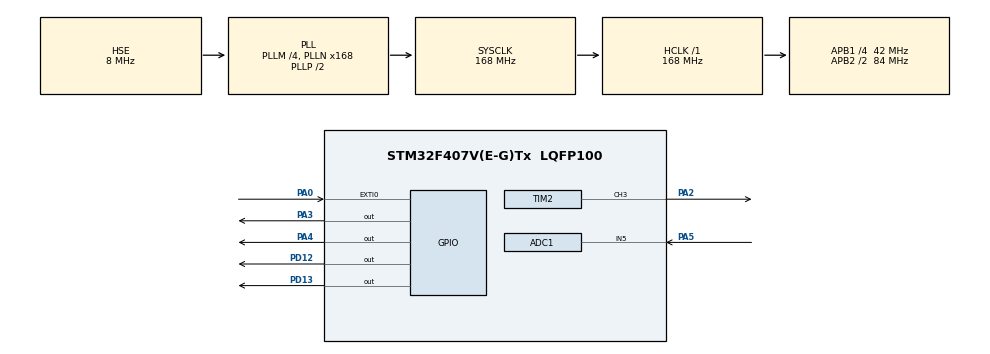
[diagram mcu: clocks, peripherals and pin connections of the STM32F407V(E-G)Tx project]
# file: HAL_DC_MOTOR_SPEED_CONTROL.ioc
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ADC1.Channel-0\#ChannelRegularConversion=ADC_CHANNEL_5
ADC1.ContinuousConvMode=ENABLE
ADC1.NbrOfConversionFlag=1
ADC1.Rank-0\#ChannelRegularConversion=1
ADC1.Resolution=ADC_RESOLUTION_12B
ADC1.SamplingTime-0\#ChannelRegularConversion=ADC_SAMPLETIME_56CYCLES
ADC1.master=1
Mcu.Family=STM32F4
Mcu.Name=STM32F407V(E-G)Tx
Mcu.Package=LQFP100
NVIC.EXTI0_IRQn=true\:0\:0\:false\:false\:true\:true\:true\:true
NVIC.PriorityGroup=NVIC_PRIORITYGROUP_4
PA0-WKUP.GPIO_PuPd=GPIO_PULLDOWN
PA0-WKUP.Signal=GPXTI0
PA2.Signal=S_TIM2_CH3
PA3.GPIO_Speed=GPIO_SPEED_FREQ_VERY_HIGH
PA3.Signal=GPIO_Output
PA4.GPIO_Speed=GPIO_SPEED_FREQ_VERY_HIGH
PA4.Signal=GPIO_Output
PA5.Signal=ADCx_IN5
PD12.GPIO_Speed=GPIO_SPEED_FREQ_VERY_HIGH
PD12.Signal=GPIO_Output
PD13.GPIO_Speed=GPIO_SPEED_FREQ_VERY_HIGH
PD13.Signal=GPIO_Output
PH0-OSC_IN.Mode=HSE-External-Oscillator
PH0-OSC_IN.Signal=RCC_OSC_IN
PH1-OSC_OUT.Mode=HSE-External-Oscillator
PH1-OSC_OUT.Signal=RCC_OSC_OUT
ProjectManager.HeapSize=0x200
ProjectManager.StackSize=0x400
ProjectManager.TargetToolchain=STM32CubeIDE
RCC.48MHZClocksFreq_Value=84000000
RCC.AHBFreq_Value=168000000
RCC.APB1CLKDivider=RCC_HCLK_DIV4
RCC.APB1Freq_Value=42000000
RCC.APB1TimFreq_Value=84000000
RCC.APB2CLKDivider=RCC_HCLK_DIV2
RCC.APB2Freq_Value=84000000
RCC.APB2TimFreq_Value=168000000
RCC.CortexFreq_Value=168000000
RCC.HCLKFreq_Value=168000000
RCC.HSE_VALUE=8000000
RCC.HSI_VALUE=16000000
RCC.LSE_VALUE=32768
RCC.PLLM=4
RCC.PLLN=168
RCC.PLLSourceVirtual=RCC_PLLSOURCE_HSE
RCC.SYSCLKFreq_VALUE=168000000
RCC.SYSCLKSource=RCC_SYSCLKSOURCE_PLLCLK
RCC.VCOOutputFreq_Value=336000000
SH.ADCx_IN5.0=ADC1_IN5,IN5
SH.S_TIM2_CH3.0=TIM2_CH3,PWM Generation3 CH3
TIM2.Channel-PWM\ Generation3\ CH3=TIM_CHANNEL_3
TIM2.Period=255
TIM2.Prescaler=299
board=custom

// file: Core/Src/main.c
/* USER CODE BEGIN Header */
/**
  ******************************************************************************
  * @file           : main.c
  * @brief          : Main program body
  ******************************************************************************
  * @attention
  *
  * Copyright (c) 2024 STMicroelectronics.
  * All rights reserved.
  *
  * This software is licensed under terms that can be found in the LICENSE file
  * in the root directory of this software component.
  * If no LICENSE file comes with this software, it is provided AS-IS.
  *
  ******************************************************************************
  */
/* USER CODE END Header */
#include "main.h"

ADC_HandleTypeDef hadc1;

TIM_HandleTypeDef htim2;

void SystemClock_Config(void);
static void MX_GPIO_Init(void);
static void MX_ADC1_Init(void);
static void MX_TIM2_Init(void);

/* USER CODE BEGIN 0 */
uint16_t adc_value;
int count;

uint8_t read_adc()
{
	if(HAL_ADC_PollForConversion(&hadc1, 1000)== HAL_OK)
	{
		return HAL_ADC_GetValue(&hadc1);
	}
}

void HAL_GPIO_EXTI_Callback(uint16_t GPIO_Pin_0)
{
	count++;
	if(count%2 == 0)
	{
		HAL_GPIO_WritePin(GPIOA, GPIO_PIN_3, SET); /*PIN3 And PIN4 are used to see the direction of motor */
		HAL_GPIO_WritePin(GPIOA, GPIO_PIN_4, RESET);
		HAL_GPIO_WritePin(GPIOD, GPIO_PIN_12, SET);
		HAL_GPIO_WritePin(GPIOD, GPIO_PIN_13, RESET);
	}
	else
	{
		HAL_GPIO_WritePin(GPIOA, GPIO_PIN_4, SET);
		HAL_GPIO_WritePin(GPIOA, GPIO_PIN_3, RESET);
		HAL_GPIO_WritePin(GPIOD, GPIO_PIN_13, SET);
		HAL_GPIO_WritePin(GPIOD, GPIO_PIN_12, RESET);
	}
}
/* USER CODE END 0 */

int main(void)
{

  /* MCU Configuration--------------------------------------------------------*/

  /* Reset of all peripherals, Initializes the Flash interface and the Systick. */
  HAL_Init();

  /* Configure the system clock */
  SystemClock_Config();

  /* Initialize all configured peripherals */
  MX_GPIO_Init();
  MX_ADC1_Init();
  MX_TIM2_Init();
  /* USER CODE BEGIN 2 */
  HAL_ADC_Start(&hadc1);
  HAL_TIM_PWM_Start(&htim2, TIM_CHANNEL_3);
  HAL_GPIO_WritePin(GPIOD, GPIO_PIN_12, SET);
  HAL_GPIO_WritePin(GPIOD, GPIO_PIN_13, RESET);
  HAL_GPIO_WritePin(GPIOA, GPIO_PIN_3, SET);
  HAL_GPIO_WritePin(GPIOA, GPIO_PIN_4, RESET);
  /* USER CODE END 2 */

  /* Infinite loop */
  while (1)
  {

    /* USER CODE BEGIN 3 */
	  adc_value=read_adc();
	  __HAL_TIM_SET_COMPARE(&htim2, TIM_CHANNEL_3, adc_value);
  }
  /* USER CODE END 3 */
}

void SystemClock_Config(void)
{
  RCC_OscInitTypeDef RCC_OscInitStruct = {0};
  RCC_ClkInitTypeDef RCC_ClkInitStruct = {0};

  /** Configure the main internal regulator output voltage
  */
  __HAL_RCC_PWR_CLK_ENABLE();
  __HAL_PWR_VOLTAGESCALING_CONFIG(PWR_REGULATOR_VOLTAGE_SCALE1);

  /** Initializes the RCC Oscillators according to the specified parameters
  * in the RCC_OscInitTypeDef structure.
  */
  RCC_OscInitStruct.OscillatorType = RCC_OSCILLATORTYPE_HSE;
  RCC_OscInitStruct.HSEState = RCC_HSE_ON;
  RCC_OscInitStruct.PLL.PLLState = RCC_PLL_ON;
  RCC_OscInitStruct.PLL.PLLSource = RCC_PLLSOURCE_HSE;
  RCC_OscInitStruct.PLL.PLLM = 4;
  RCC_OscInitStruct.PLL.PLLN = 168;
  RCC_OscInitStruct.PLL.PLLP = RCC_PLLP_DIV2;
  RCC_OscInitStruct.PLL.PLLQ = 4;
  if (HAL_RCC_OscConfig(&RCC_OscInitStruct) != HAL_OK)
  {
    Error_Handler();
  }

  /** Initializes the CPU, AHB and APB buses clocks
  */
  RCC_ClkInitStruct.ClockType = RCC_CLOCKTYPE_HCLK|RCC_CLOCKTYPE_SYSCLK
                              |RCC_CLOCKTYPE_PCLK1|RCC_CLOCKTYPE_PCLK2;
  RCC_ClkInitStruct.SYSCLKSource = RCC_SYSCLKSOURCE_PLLCLK;
  RCC_ClkInitStruct.AHBCLKDivider = RCC_SYSCLK_DIV1;
  RCC_ClkInitStruct.APB1CLKDivider = RCC_HCLK_DIV4;
  RCC_ClkInitStruct.APB2CLKDivider = RCC_HCLK_DIV2;

  if (HAL_RCC_ClockConfig(&RCC_ClkInitStruct, FLASH_LATENCY_5) != HAL_OK)
  {
    Error_Handler();
  }
}

static void MX_ADC1_Init(void)
{

  ADC_ChannelConfTypeDef sConfig = {0};

  /** Configure the global features of the ADC (Clock, Resolution, Data Alignment and number of conversion)
  */
  hadc1.Instance = ADC1;
  hadc1.Init.ClockPrescaler = ADC_CLOCK_SYNC_PCLK_DIV4;
  hadc1.Init.Resolution = ADC_RESOLUTION_12B;
  hadc1.Init.ScanConvMode = DISABLE;
  hadc1.Init.ContinuousConvMode = ENABLE;
  hadc1.Init.DiscontinuousConvMode = DISABLE;
  hadc1.Init.ExternalTrigConvEdge = ADC_EXTERNALTRIGCONVEDGE_NONE;
  hadc1.Init.ExternalTrigConv = ADC_SOFTWARE_START;
  hadc1.Init.DataAlign = ADC_DATAALIGN_RIGHT;
  hadc1.Init.NbrOfConversion = 1;
  hadc1.Init.DMAContinuousRequests = DISABLE;
  hadc1.Init.EOCSelection = ADC_EOC_SINGLE_CONV;
  if (HAL_ADC_Init(&hadc1) != HAL_OK)
  {
    Error_Handler();
  }

  /** Configure for the selected ADC regular channel its corresponding rank in the sequencer and its sample time.
  */
  sConfig.Channel = ADC_CHANNEL_5;
  sConfig.Rank = 1;
  sConfig.SamplingTime = ADC_SAMPLETIME_56CYCLES;
  if (HAL_ADC_ConfigChannel(&hadc1, &sConfig) != HAL_OK)
  {
    Error_Handler();
  }

}

static void MX_TIM2_Init(void)
{

  TIM_MasterConfigTypeDef sMasterConfig = {0};
  TIM_OC_InitTypeDef sConfigOC = {0};

  htim2.Instance = TIM2;
  htim2.Init.Prescaler = 299;
  htim2.Init.CounterMode = TIM_COUNTERMODE_UP;
  htim2.Init.Period = 255;
  htim2.Init.ClockDivision = TIM_CLOCKDIVISION_DIV1;
  htim2.Init.AutoReloadPreload = TIM_AUTORELOAD_PRELOAD_DISABLE;
  if (HAL_TIM_PWM_Init(&htim2) != HAL_OK)
  {
    Error_Handler();
  }
  sMasterConfig.MasterOutputTrigger = TIM_TRGO_RESET;
  sMasterConfig.MasterSlaveMode = TIM_MASTERSLAVEMODE_DISABLE;
  if (HAL_TIMEx_MasterConfigSynchronization(&htim2, &sMasterConfig) != HAL_OK)
  {
    Error_Handler();
  }
  sConfigOC.OCMode = TIM_OCMODE_PWM1;
  sConfigOC.Pulse = 0;
  sConfigOC.OCPolarity = TIM_OCPOLARITY_HIGH;
  sConfigOC.OCFastMode = TIM_OCFAST_DISABLE;
  if (HAL_TIM_PWM_ConfigChannel(&htim2, &sConfigOC, TIM_CHANNEL_3) != HAL_OK)
  {
    Error_Handler();
  }
  HAL_TIM_MspPostInit(&htim2);

}

static void MX_GPIO_Init(void)
{
  GPIO_InitTypeDef GPIO_InitStruct = {0};

  /* GPIO Ports Clock Enable */
  __HAL_RCC_GPIOH_CLK_ENABLE();
  __HAL_RCC_GPIOA_CLK_ENABLE();
  __HAL_RCC_GPIOD_CLK_ENABLE();

  /*Configure GPIO pin Output Level */
  HAL_GPIO_WritePin(GPIOA, GPIO_PIN_3|GPIO_PIN_4, GPIO_PIN_RESET);

  /*Configure GPIO pin Output Level */
  HAL_GPIO_WritePin(GPIOD, GPIO_PIN_12|GPIO_PIN_13, GPIO_PIN_RESET);

  /*Configure GPIO pin : PA0 */
  GPIO_InitStruct.Pin = GPIO_PIN_0;
  GPIO_InitStruct.Mode = GPIO_MODE_IT_RISING;
  GPIO_InitStruct.Pull = GPIO_PULLDOWN;
  HAL_GPIO_Init(GPIOA, &GPIO_InitStruct);

  /*Configure GPIO pins : PA3 PA4 */
  GPIO_InitStruct.Pin = GPIO_PIN_3|GPIO_PIN_4;
  GPIO_InitStruct.Mode = GPIO_MODE_OUTPUT_PP;
  GPIO_InitStruct.Pull = GPIO_NOPULL;
  GPIO_InitStruct.Speed = GPIO_SPEED_FREQ_VERY_HIGH;
  HAL_GPIO_Init(GPIOA, &GPIO_InitStruct);

  /*Configure GPIO pins : PD12 PD13 */
  GPIO_InitStruct.Pin = GPIO_PIN_12|GPIO_PIN_13;
  GPIO_InitStruct.Mode = GPIO_MODE_OUTPUT_PP;
  GPIO_InitStruct.Pull = GPIO_NOPULL;
  GPIO_InitStruct.Speed = GPIO_SPEED_FREQ_VERY_HIGH;
  HAL_GPIO_Init(GPIOD, &GPIO_InitStruct);

  /* EXTI interrupt init*/
  HAL_NVIC_SetPriority(EXTI0_IRQn, 0, 0);
  HAL_NVIC_EnableIRQ(EXTI0_IRQn);

}

void Error_Handler(void)
{
  __disable_irq();
  while (1)
  {
  }
}
